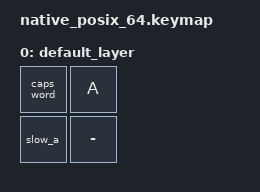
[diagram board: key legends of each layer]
#include <dt-bindings/zmk/keys.h>
#include <behaviors.dtsi>
#include <dt-bindings/zmk/kscan_mock.h>

&caps_word {
    idle-timeout-ms = <500>;
    exit = <&kp F14>;
};

/ {
    macros {
        /* three A, 410 ms apart, from one key press */
        slow_a: slow_a {
            compatible = "zmk,behavior-macro";
            #binding-cells = <0>;
            tap-ms = <10>;
            wait-ms = <400>;
            bindings = <&kp A &kp A &kp A>;
        };
    };

    keymap {
        compatible = "zmk,keymap";

        default_layer {
            bindings = <
                &caps_word &kp A
                &slow_a    &kp MINUS>;
        };
    };
};

&kscan {
    events = <
        ZMK_MOCK_PRESS(0,0,10)
        ZMK_MOCK_RELEASE(0,0,10)
        /* macro key tapped at t=20..30; it types A at ~t=20, 430, 840. No key is touched
         * after t=30, so only the key codes keep caps word on: all three shifted */
        ZMK_MOCK_PRESS(1,0,10)
        ZMK_MOCK_RELEASE(1,0,1500)
        /* timed out after the last A (F14); a, unshifted */
        ZMK_MOCK_PRESS(0,1,10)
        ZMK_MOCK_RELEASE(0,1,10)
    >;
};
